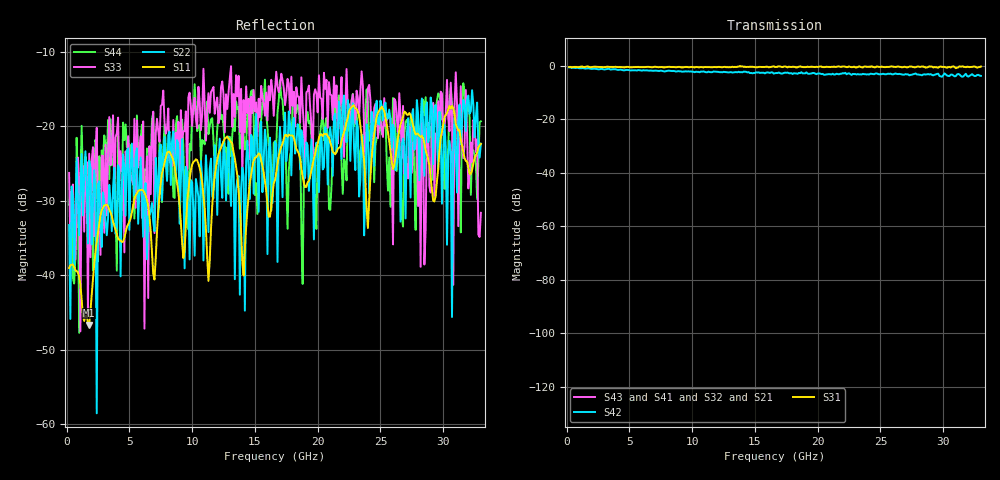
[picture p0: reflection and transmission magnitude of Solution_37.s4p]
# GHZ S RI R 50
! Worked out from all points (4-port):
!   329 points, 200 MHz to 33 GHz, reference 50 ohm
!   strongest paths, dB at 200 MHz, 8.4 GHz, 16.6 GHz, 24.8 GHz, 33 GHz:
!     S31: -0.4, -0.4, -0.3, -0.2, -0.2
!     S42: -0.5, -1.9, -2.7, -3.0, -3.7
!     S43: -, -, -, -, -
!     S41: -, -, -, -, -
!     S32: -, -, -, -, -
!     S21: -, -, -, -, -
!   lowest |S11| = -46.7 dB at 1.8 GHz (marker M1), VSWR 1.01, Z = 49.6 + j0.287 ohm
!   |S11| at or under -10 dB: start of sweep to end of sweep
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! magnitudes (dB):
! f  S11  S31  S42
! 200 MHz  -39.0  -0.4  -0.5
! 1.8 GHz  -46.7  -0.3  -0.9
! 2.3 GHz  -36.8  -0.3  -1.0
! 2.4 GHz  -35.5  -0.3  -1.1
! 2.5 GHz  -34.3  -0.3  -1.2
! 5.2 GHz  -31.6  -0.5  -1.6
! 33 GHz  -22.3  -0.2  -3.7
